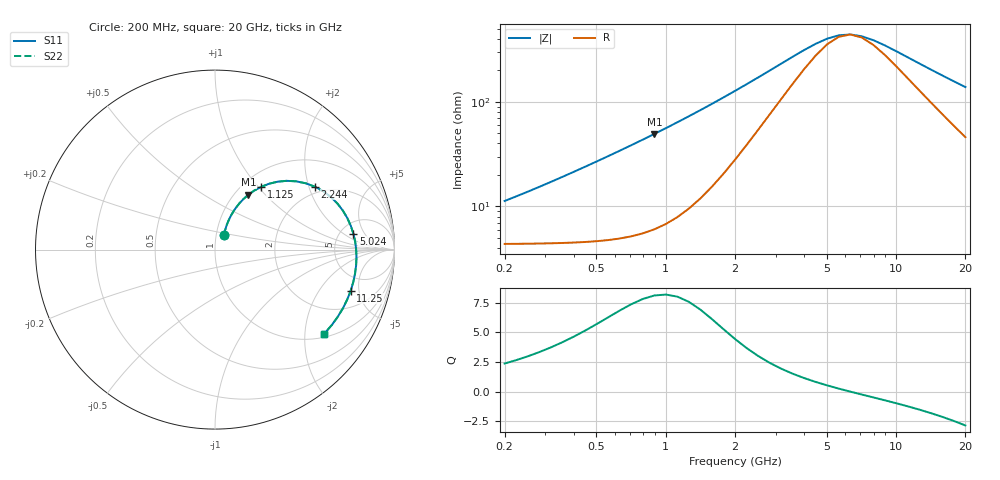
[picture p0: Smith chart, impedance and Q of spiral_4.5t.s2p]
# GHz S RI R 50
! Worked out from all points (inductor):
!   41 points, 200 MHz to 20 GHz, reference 50 ohm
!   read as 1/Y11, port 2 shorted: L = 8.29 nH near 282.5 MHz
!   highest Q = 8.1 at 893.4 MHz (marker M1), where L = 8.72 nH
!   self-resonance near 6.351 GHz
!   S11 on the Smith chart (normalised r, x): 200 MHz: 1.09, +0.18; 1.125 GHz: 1.20, +1.04; 2.244 GHz: 1.77, +2.19; 5.024 GHz: 6.58, +2.95; 11.25 GHz: 3.37, -4.09; 20 GHz: 1.10, -2.52
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0.2  0.0496 0.0797  0.9471 -0.109  0.9471 -0.109  0.0496 0.0797
0.3169786  0.0614 0.1249  0.9304 -0.1703  0.9304 -0.1703  0.0614 0.1249
0.5023773  0.0905 0.1922  0.8901 -0.2608  0.8901 -0.2608  0.0905 0.1922
0.7096268  0.1364 0.2583  0.8279 -0.348  0.8279 -0.348  0.1364 0.2583
0.8933672  0.1863 0.306  0.762 -0.4101  0.762 -0.4101  0.1863 0.306
1.124683  0.2565 0.3495  0.6715 -0.4664  0.6715 -0.4664  0.2565 0.3495
1.588656  0.3987 0.3831  0.4928 -0.5125  0.4928 -0.5125  0.3987 0.3831
2.244037  0.5561 0.3508  0.2984 -0.4824  0.2984 -0.4824  0.5561 0.3508
2.825075  0.6456 0.293  0.1877 -0.4221  0.1877 -0.4221  0.6456 0.293
3.556559  0.7126 0.2172  0.1037 -0.3431  0.1037 -0.3431  0.7126 0.2172
5.023773  0.7709 0.0893  0.0273 -0.2141  0.0273 -0.2141  0.7709 0.0893
6.324555  0.7864 0.000971  0.00343 -0.13  0.00343 -0.13  0.7864 0.000971
7.096268  0.7882 -0.0437  -0.00179 -0.0894  -0.00179 -0.0894  0.7882 -0.0437
7.962143  0.7861 -0.089  -0.00292 -0.0498  -0.00292 -0.0498  0.7861 -0.089
8.933672  0.7802 -0.1348  -7.95e-05 -0.0113  -7.95e-05 -0.0113  0.7802 -0.1348
10.02374  0.7703 -0.1813  0.00673 0.0262  0.00673 0.0262  0.7703 -0.1813
11.24683  0.7562 -0.2285  0.0176 0.0625  0.0176 0.0625  0.7562 -0.2285
12.61915  0.7375 -0.2765  0.0328 0.0975  0.0328 0.0975  0.7375 -0.2765
14.15892  0.7138 -0.3248  0.0524 0.1306  0.0524 0.1306  0.7138 -0.3248
15.88656  0.6848 -0.3732  0.0767 0.1615  0.0767 0.1615  0.6848 -0.3732
17.82502  0.65 -0.4212  0.1057 0.1893  0.1057 0.1893  0.65 -0.4212
20  0.6094 -0.4679  0.1395 0.2131  0.1395 0.2131  0.6094 -0.4679
